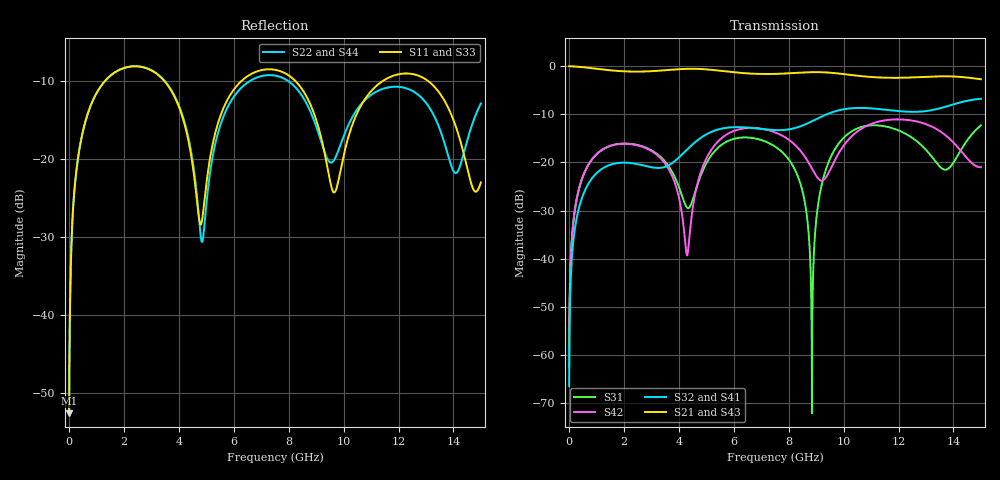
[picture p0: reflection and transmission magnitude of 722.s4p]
! Created with skrf 1.8.0 (http://scikit-rf.org).
# GHz S RI R 50.0
!freq ReS11 ImS11 ReS12 ImS12 ReS13 ImS13
! ReS14 ImS14
! ReS21 ImS21 ReS22 ImS22 ReS23 ImS23
! ReS24 ImS24
! ReS31 ImS31 ReS32 ImS32 ReS33 ImS33
! ReS34 ImS34
! ReS41 ImS41 ReS42 ImS42 ReS43 ImS43
! ReS44 ImS44
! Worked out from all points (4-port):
!   2499 points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, 5 MHz to 15 GHz, reference 50 ohm
!   strongest paths, dB at 5 MHz, 3.476 GHz, 7.19 GHz, 11.1 GHz, 15 GHz:
!     S21: 0.0, -0.9, -1.6, -2.3, -2.7
!     S43: 0.0, -0.9, -1.6, -2.3, -2.7
!     S32: -66.4, -20.9, -13.2, -8.8, -6.8
!     S41: -66.4, -20.9, -13.2, -8.8, -6.8
!     S42: -62.4, -20.0, -13.2, -11.8, -21.0
!     S31: -62.4, -19.7, -15.7, -12.3, -12.3
!   lowest |S11| = -52.6 dB at 5 MHz (marker M1), VSWR 1.00, Z = 50.2 + j0.142 ohm
!   |S11| at or under -10 dB: 3.47 GHz to 6.285 GHz (2.815 GHz wide, 57.7 % of centre); 8.241 GHz to 11.43 GHz (3.192 GHz wide, 32.5 % of centre); 13.07 GHz to end of sweep (the widest 3 of 4)
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0.005  0.00186 0.00141  0.9981 -0.00362  9.47e-05 0.000752  -9.18e-05 -0.00047
       0.9981 -0.00362  0.00186 0.00141  -9.18e-05 -0.00047  9.47e-05 0.000752
       9.47e-05 0.000752  -9.18e-05 -0.00047  0.00186 0.00141  0.9981 -0.00362
       -9.18e-05 -0.00047  9.47e-05 0.000752  0.9981 -0.00362  0.00186 0.00141
0.4126719  0.046 0.1157  0.9357 -0.2896  0.0231 0.055  -0.0189 -0.0328
           0.9357 -0.2896  0.046 0.1157  -0.0189 -0.0328  0.023 0.055
           0.0231 0.055  -0.0189 -0.0328  0.046 0.1157  0.9357 -0.2896
           -0.0189 -0.0328  0.023 0.055  0.9357 -0.2896  0.046 0.1157
1.875782  0.3594 0.1069  0.2978 -0.8351  0.1553 0.0193  -0.0931 0.0347
          0.2978 -0.8351  0.3599 0.1063  -0.0931 0.0347  0.1543 0.0226
          0.1553 0.0193  -0.0931 0.0347  0.3593 0.1068  0.2979 -0.8351
          -0.0931 0.0347  0.1543 0.0226  0.2979 -0.8351  0.3598 0.1064
4.945811  0.0443 0.035  -0.9271 0.0226  -0.0141 0.0902  0.0131 0.1911
          -0.9271 0.0226  0.0329 0.0225  0.0122 0.1913  0.0494 0.0886
          -0.0141 0.0902  0.0122 0.1913  0.0425 0.0358  -0.9271 0.0226
          0.0131 0.1911  0.0494 0.0886  -0.9271 0.0226  0.0346 0.023
8.847436  0.139 -0.1596  0.6586 0.5599  0.000217 0.000124  0.1658 -0.2101
          0.6586 0.5599  0.1543 -0.1122  0.1674 -0.2088  -0.0523 -0.0693
          0.000217 0.000124  0.1674 -0.2088  0.1387 -0.1599  0.6579 0.5607
          0.1658 -0.2101  -0.0523 -0.0693  0.6579 0.5607  0.1554 -0.1119
10.02293  0.0896 0.0616  0.821 -0.0761  0.0723 0.168  -0.0609 -0.3515
          0.821 -0.0761  0.1265 0.0656  -0.058 -0.3526  0.0563 0.1415
          0.0723 0.168  -0.058 -0.3526  0.086 0.0623  0.8212 -0.0745
          -0.0609 -0.3515  0.0563 0.1415  0.8212 -0.0745  0.1297 0.0639
15  0.0694 0.0129  -0.7289 0.0487  0.2084 0.1231  0.0561 0.4544
    -0.7289 0.0487  0.1655 0.1546  0.051 0.4548  -0.0384 0.0804
    0.2084 0.1231  0.051 0.4548  0.0646 0.00924  -0.73 0.043
    0.0561 0.4544  -0.0384 0.0804  -0.73 0.043  0.1687 0.1475
